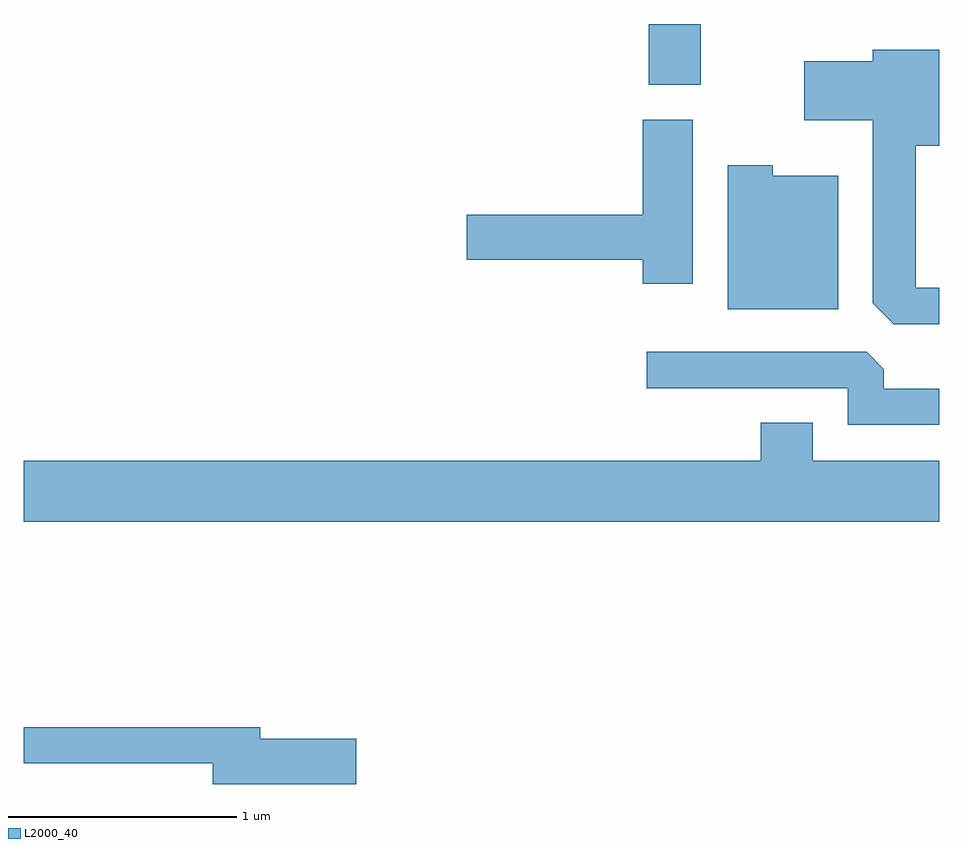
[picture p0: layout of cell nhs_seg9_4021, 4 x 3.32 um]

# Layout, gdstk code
import gdstk
lib = gdstk.Library(unit=1e-6, precision=1e-09)
def R(c, l, rs):  # rectangles x0, y0, x1, y1
    for r in rs: c.add(gdstk.rectangle(r[:2], r[2:], *l))
def P(c, l, *ps):  # polygons
    for p in ps: c.add(gdstk.Polygon(p, *l))
L2000_40 = (2000, 40)

nhs_seg9_4021 = lib.new_cell('nhs_seg9_4021')
R(nhs_seg9_4021, L2000_40, [(306.341,1998.166,306.569,1998.432)])
P(nhs_seg9_4021, L2000_40, [(307.611,1997.279),(307.509,1997.279),(307.509,1997.901),(307.611,1997.901),(307.611,1998.319),(307.321,1998.319),(307.321,1998.269),(307.021,1998.269),(307.021,1998.011),(307.321,1998.011),(307.321,1997.212),(307.412,1997.121),(307.611,1997.121)],
  [(306.534,1998.014),(306.316,1998.014),(306.316,1997.599),(305.546,1997.599),(305.546,1997.401),(306.316,1997.401),(306.316,1997.296),(306.534,1997.296)],
  [(307.169,1997.769),(306.884,1997.769),(306.884,1997.814),(306.686,1997.814),(306.686,1997.186),(307.169,1997.186)],
  [(307.611,1996.839),(307.369,1996.839),(307.369,1996.924),(307.294,1996.999),(306.333,1996.999),(306.333,1996.841),(307.211,1996.841),(307.211,1996.681),(307.611,1996.681)],
  [(307.611,1996.524),(307.059,1996.524),(307.059,1996.689),(306.831,1996.689),(306.831,1996.524),(303.611,1996.524),(303.611,1996.256),(307.611,1996.256)],
  [(305.064,1995.309),(304.644,1995.309),(304.644,1995.359),(303.611,1995.359),(303.611,1995.201),(304.436,1995.201),(304.436,1995.111),(305.064,1995.111)])

lib.write_gds('nhs_seg9_4021.gds')
